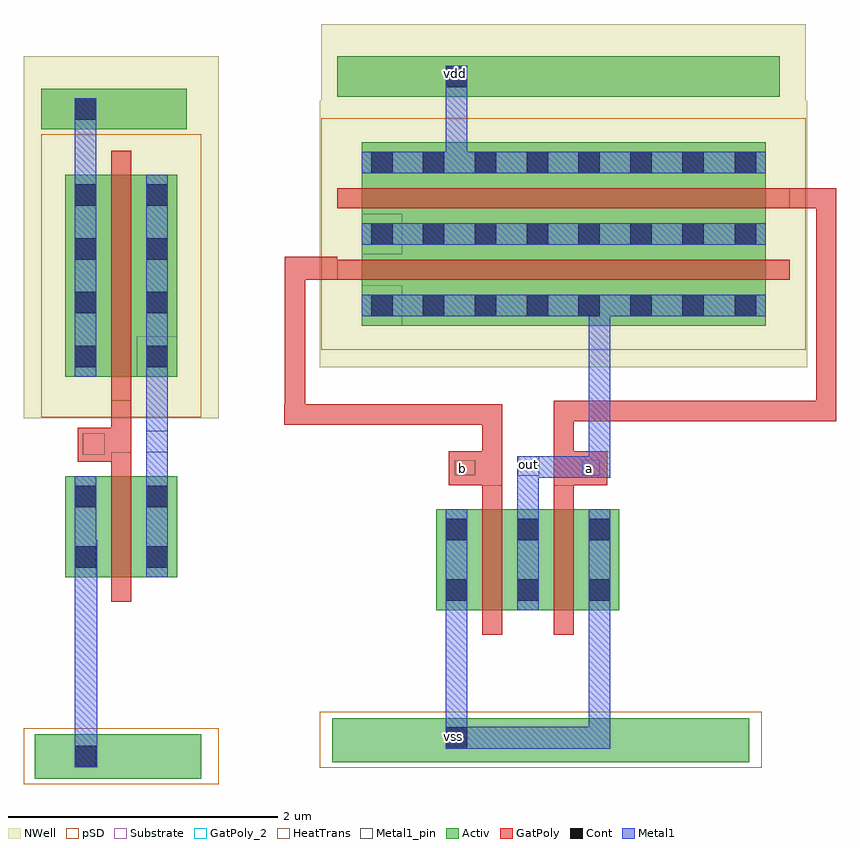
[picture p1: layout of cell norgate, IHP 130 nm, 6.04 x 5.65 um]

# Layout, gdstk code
from math import pi, radians
import gdstk
lib = gdstk.Library(unit=1e-6, precision=5e-09)
def R(c, l, rs):  # rectangles x0, y0, x1, y1
    for r in rs: c.add(gdstk.rectangle(r[:2], r[2:], *l))
def A(c, l, x, y, w, h, nx, ny, dx, dy):  # array of equal rectangles
    R(c, l, [(x+i*dx, y+j*dy, x+i*dx+w, y+j*dy+h) for i in range(nx) for j in range(ny)])
Activ = (1, 0)
GatPoly = (5, 0)
GatPoly_2 = (5, 2)
Cont = (6, 0)
Metal1 = (8, 0)
Metal1_pin = (8, 2)
pSD = (14, 0)
NWell = (31, 0)
Substrate = (40, 0)
HeatTrans = (51, 0)

nmos_5 = lib.new_cell('nmos$5')
R(nmos_5, Activ, [(0,0,0.3,0.3), (0,0,0.83,0.75), (0.53,0,0.83,0.3)])
R(nmos_5, GatPoly, [(0.34,-0.18,0.49,0.93)])
R(nmos_5, GatPoly_2, [(0.34,-0.18,0.49,0.93)])
R(nmos_5, Cont, [(0.07,0.07,0.23,0.23), (0.6,0.07,0.76,0.23), (0.07,0.52,0.23,0.68), (0.6,0.52,0.76,0.68)])
R(nmos_5, Metal1, [(0.07,0,0.23,0.75), (0.6,0,0.76,0.75)])
R(nmos_5, Metal1_pin, [(0.07,0,0.23,0.75), (0.6,0,0.76,0.75)])
R(nmos_5, HeatTrans, [(0.34,-0.18,0.49,0.93)])
nmos_5.add(gdstk.Label('nmos', (0.415,0.375), layer=63, texttype=0))
nmos_5.add(gdstk.Label('nmos', (0.415,0.375), layer=51, texttype=0))

pmos_5 = lib.new_cell('pmos$5')
R(pmos_5, Activ, [(0,0,0.3,0.3), (0,0,0.83,3), (0.53,0,0.83,0.3)])
R(pmos_5, GatPoly, [(0.34,-0.18,0.49,3.18), (0.34,-0.18,0.49,3.18)])
A(pmos_5, Cont, 0.07, 0.07, 0.16, 0.16, 1, 7, 0, 0.385)
A(pmos_5, Cont, 0.6, 0.07, 0.16, 0.16, 1, 7, 0, 0.385)
R(pmos_5, Cont, [(0.07,2.77,0.23,2.93), (0.6,2.77,0.76,2.93)])
R(pmos_5, Metal1, [(0.07,0,0.23,3), (0.07,0,0.23,3), (0.6,0,0.76,3), (0.6,0,0.76,3)])
R(pmos_5, pSD, [(-0.18,-0.3,1.01,3.3)])
R(pmos_5, NWell, [(-0.31,-0.31,1.14,3.31)])
R(pmos_5, Substrate, [(0.53,0,0.83,0.3)])
R(pmos_5, HeatTrans, [(0.34,-0.18,0.49,3.18)])
pmos_5.add(gdstk.Label('pmos', (0.415,1.5), layer=63, texttype=0))
pmos_5.add(gdstk.Label('pmos', (0.415,1.5), layer=51, texttype=0))

nmos_7 = lib.new_cell('nmos$7')
R(nmos_7, Activ, [(0,0,0.3,0.3), (0,0,0.83,0.75), (0.53,0,0.83,0.3)])
R(nmos_7, GatPoly, [(0.34,-0.18,0.49,0.93)])
R(nmos_7, GatPoly_2, [(0.34,-0.18,0.49,0.93)])
R(nmos_7, Cont, [(0.07,0.07,0.23,0.23), (0.6,0.07,0.76,0.23), (0.07,0.52,0.23,0.68), (0.6,0.52,0.76,0.68)])
R(nmos_7, Metal1, [(0.07,0,0.23,0.75), (0.6,0,0.76,0.75)])
R(nmos_7, Metal1_pin, [(0.07,0,0.23,0.75), (0.6,0,0.76,0.75)])
R(nmos_7, HeatTrans, [(0.34,-0.18,0.49,0.93)])
nmos_7.add(gdstk.Label('nmos', (0.415,0.375), layer=63, texttype=0))
nmos_7.add(gdstk.Label('nmos', (0.415,0.375), layer=51, texttype=0))

pmos_6 = lib.new_cell('pmos$6')
R(pmos_6, Activ, [(0,0,0.3,0.3), (0,0,0.83,1.5), (0.53,0,0.83,0.3)])
R(pmos_6, GatPoly, [(0.34,-0.18,0.49,1.68), (0.34,-0.18,0.49,1.68)])
A(pmos_6, Cont, 0.07, 0.07, 0.16, 0.16, 1, 4, 0, 0.4)
A(pmos_6, Cont, 0.6, 0.07, 0.16, 0.16, 1, 4, 0, 0.4)
R(pmos_6, Metal1, [(0.07,0,0.23,1.5), (0.07,0,0.23,1.5), (0.6,0,0.76,1.5), (0.6,0,0.76,1.5)])
R(pmos_6, pSD, [(-0.18,-0.3,1.01,1.8)])
R(pmos_6, NWell, [(-0.31,-0.31,1.14,1.81)])
R(pmos_6, Substrate, [(0.53,0,0.83,0.3)])
R(pmos_6, HeatTrans, [(0.34,-0.18,0.49,1.68)])
pmos_6.add(gdstk.Label('pmos', (0.415,0.75), layer=63, texttype=0))
pmos_6.add(gdstk.Label('pmos', (0.415,0.75), layer=51, texttype=0))

inverter_5 = lib.new_cell('inverter$5')
R(inverter_5, Activ, [(-0.845,-2.62,0.395,-2.29), (-0.795,2.205,0.285,2.505)])
R(inverter_5, GatPoly, [(-0.525,-0.265,-0.275,-0.015), (-0.275,-0.195,-0.125,0.185)])
R(inverter_5, GatPoly_2, [(-0.485,-0.215,-0.325,-0.055)])
R(inverter_5, Cont, [(-0.545,-2.535,-0.385,-2.375), (-0.545,-2.535,-0.385,-2.375), (-0.545,2.275,-0.385,2.435)])
R(inverter_5, Metal1, [(-0.545,-2.535,-0.38,-0.845), (-0.015,-0.375,0.145,0.365), (-0.545,1.865,-0.385,2.435)])
R(inverter_5, Metal1_pin, [(-0.015,-0.195,0.145,-0.035)])
R(inverter_5, pSD, [(-0.925,-2.66,0.525,-2.245)])
R(inverter_5, NWell, [(-0.925,2.175,0.525,2.745)])
inverter_5.add(gdstk.Reference(nmos_7, (-0.615,-1.125)))
inverter_5.add(gdstk.Reference(pmos_6, (-0.615,0.365)))
inverter_5.add(gdstk.Label('vss', (-0.475,-2.43), layer=8, texttype=2))
inverter_5.add(gdstk.Label('vdd', (-0.465,2.355), layer=8, texttype=2))
inverter_5.add(gdstk.Label('out', (0.06,-0.09), layer=8, texttype=2))
inverter_5.add(gdstk.Label('in', (-0.45,-0.11), layer=5, texttype=2))

norgate = lib.new_cell('norgate')
R(norgate, Activ, [(-1.39,-2.62,1.71,-2.29), (-1.35,2.325,1.935,2.625)])
R(norgate, GatPoly, [(-0.525,-0.56,-0.125,-0.31), (-0.275,-0.56,-0.125,-0.11), (0.255,-0.56,0.405,0.065), (0.255,-0.56,0.655,-0.31), (-1.745,-0.11,-0.125,0.04), (0.255,-0.085,2.355,0.065), (2.205,-0.085,2.355,1.645), (-1.74,0.04,-1.59,1.135), (-1.59,0.965,-1.35,1.135), (2.01,1.495,2.355,1.645)])
R(norgate, GatPoly_2, [(0.47,-0.49,0.6,-0.37), (-0.48,-0.485,-0.325,-0.375)])
R(norgate, Cont, [(-0.545,-2.52,-0.385,-2.36), (-0.545,2.395,-0.385,2.555)])
R(norgate, Metal1, [(-0.545,-2.52,-0.385,-0.74), (-0.545,-2.52,0.675,-2.355), (0.515,-2.52,0.675,-0.74), (-0.015,-0.74,0.145,-0.36), (-0.015,-0.505,0.675,-0.345), (0.515,-0.49,0.675,0.695), (-0.545,1.755,-0.385,2.555)])
R(norgate, Metal1_pin, [(-0.545,-2.52,-0.385,-2.355), (-0.01,-0.49,0.15,-0.345), (-0.545,2.395,-0.385,2.555)])
R(norgate, pSD, [(-1.48,-2.66,1.8,-2.245)])
R(norgate, NWell, [(-1.47,2.295,2.13,2.865)])
norgate.add(gdstk.Reference(nmos_5, (0.745,-0.74), rotation=pi))
norgate.add(gdstk.Reference(nmos_5, (-0.615,-1.49)))
norgate.add(gdstk.Reference(pmos_5, (-1.17,1.985), rotation=3*pi/2))
norgate.add(gdstk.Reference(pmos_5, (-1.17,1.455), rotation=3*pi/2))
norgate.add(gdstk.Reference(inverter_5, (-2.755,-0.12)))
norgate.add(gdstk.Label('vdd', (-0.475,2.5), layer=8, texttype=2))
norgate.add(gdstk.Label('out', (0.07,-0.41), layer=8, texttype=2))
norgate.add(gdstk.Label('vss', (-0.485,-2.425), layer=8, texttype=2))
norgate.add(gdstk.Label('b', (-0.42,-0.435), layer=5, texttype=2))
norgate.add(gdstk.Label('a', (0.52,-0.44), layer=5, texttype=2))

lib.write_gds('norgate.gds')
